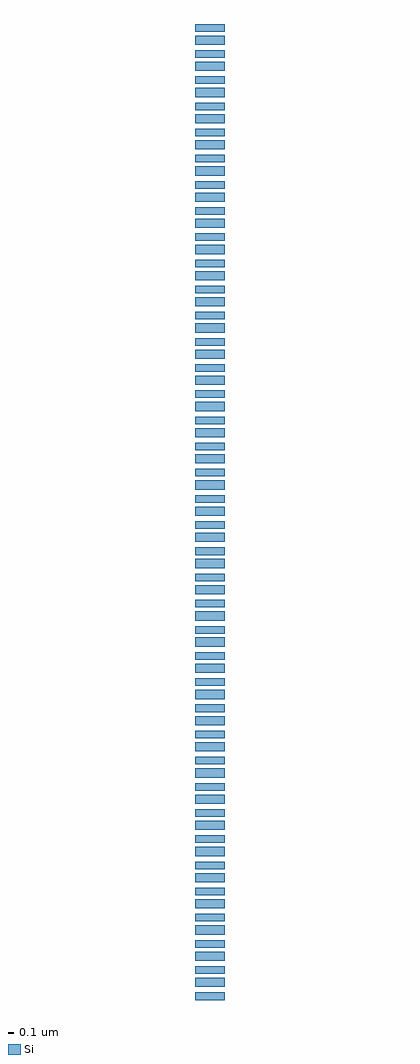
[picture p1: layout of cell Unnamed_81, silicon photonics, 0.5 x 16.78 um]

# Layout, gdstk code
import gdstk
lib = gdstk.Library(unit=1e-6, precision=1e-09)
def R(c, l, rs):  # rectangles x0, y0, x1, y1
    for r in rs: c.add(gdstk.rectangle(r[:2], r[2:], *l))
def A(c, l, x, y, w, h, nx, ny, dx, dy):  # array of equal rectangles
    R(c, l, [(x+i*dx, y+j*dy, x+i*dx+w, y+j*dy+h) for i in range(nx) for j in range(ny)])
Si = (1, 0)

unnamed_81 = lib.new_cell('Unnamed_81')
A(unnamed_81, Si, -0.25, 0.225, 0.5, 0.158, 1, 9, 0, 0.45)
A(unnamed_81, Si, -0.25, 0.451, 0.5, 0.13, 1, 8, 0, 0.45)
A(unnamed_81, Si, -0.25, 5.175, 0.5, 0.158, 1, 3, 0, 0.45)
A(unnamed_81, Si, -0.25, 7.425, 0.5, 0.158, 1, 21, 0, 0.45)
A(unnamed_81, Si, -0.25, 7.651, 0.5, 0.13, 1, 21, 0, 0.45)
R(unnamed_81, Si, [(-0.25,0,0.25,0.131), (-0.25,4.051,0.25,4.18), (-0.25,4.274,0.25,4.432), (-0.25,4.5,0.25,4.631), (-0.25,4.725,0.25,4.882), (-0.25,4.95,0.25,5.081), (-0.25,5.401,0.25,5.531), (-0.25,5.851,0.25,5.981), (-0.25,6.301,0.25,6.43), (-0.25,6.524,0.25,6.682), (-0.25,6.75,0.25,6.881), (-0.25,6.975,0.25,7.132), (-0.25,7.2,0.25,7.331)])

lib.write_gds('Unnamed_81.gds')
